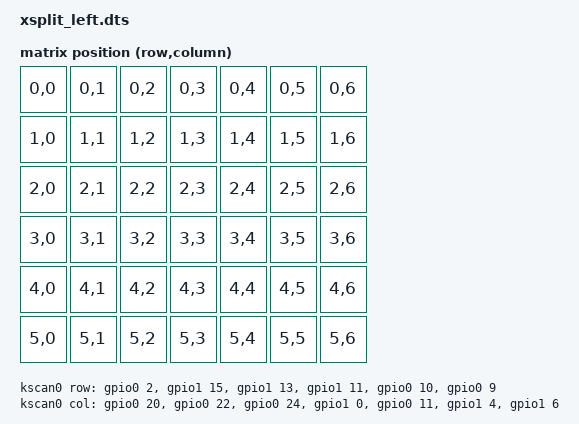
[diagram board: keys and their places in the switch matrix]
/*
*
* Copyright (c) 2021 Darryl deHaan
* SPDX-License-Identifier: MIT
*
*/

#include "xsplit.dtsi"

/ {
    chosen {
        zmk,kscan = &kscan0;
        zmk,keyboard-layout = &xsplit_layout; // Added reference to the new layout node
    };

    kscan0: kscan {
        compatible = "zmk,kscan-gpio-matrix";
        wakeup-source;
        diode-direction = "col2row"; // Set to "row2col" if your PCB uses row-to-column diodes

        // GPIOs MUST be defined here! Do not delete.
        row-gpios = 
            <&gpio0 2  (GPIO_ACTIVE_HIGH | GPIO_PULL_DOWN)>,  /* Row 0 */
            <&gpio1 15 (GPIO_ACTIVE_HIGH | GPIO_PULL_DOWN)>,  /* Row 1 */
            <&gpio1 13 (GPIO_ACTIVE_HIGH | GPIO_PULL_DOWN)>,  /* Row 2 */
            <&gpio1 11 (GPIO_ACTIVE_HIGH | GPIO_PULL_DOWN)>,  /* Row 3 */
            <&gpio0 10 (GPIO_ACTIVE_HIGH | GPIO_PULL_DOWN)>,  /* Row 4 */
            <&gpio0 9  (GPIO_ACTIVE_HIGH | GPIO_PULL_DOWN)>;  /* Row 5 */

        col-gpios = 
            <&gpio0 20 (GPIO_ACTIVE_HIGH | GPIO_PULL_DOWN)>,  /* Col 0 */
            <&gpio0 22 (GPIO_ACTIVE_HIGH | GPIO_PULL_DOWN)>,  /* Col 1 */
            <&gpio0 24 (GPIO_ACTIVE_HIGH | GPIO_PULL_DOWN)>,  /* Col 2 */
            <&gpio1 0  (GPIO_ACTIVE_HIGH | GPIO_PULL_DOWN)>,  /* Col 3 */
            <&gpio0 11 (GPIO_ACTIVE_HIGH | GPIO_PULL_DOWN)>,  /* Col 4 */
            <&gpio1 4  (GPIO_ACTIVE_HIGH | GPIO_PULL_DOWN)>,  /* Col 5 */
            <&gpio1 6  (GPIO_ACTIVE_HIGH | GPIO_PULL_DOWN)>;  /* Col 6 */
    };

    default_transform: keymap_transform_0 {
        compatible = "zmk,matrix-transform";
        columns = <7>;  // Local columns (0-6 for left half)
        rows = <6>;
        map = <
            // Only reference local columns (0-6) here!
            RC(0,0) RC(0,1) RC(0,2) RC(0,3) RC(0,4) RC(0,5) RC(0,6)
            RC(1,0) RC(1,1) RC(1,2) RC(1,3) RC(1,4) RC(1,5) RC(1,6)
            RC(2,0) RC(2,1) RC(2,2) RC(2,3) RC(2,4) RC(2,5) RC(2,6)
            RC(3,0) RC(3,1) RC(3,2) RC(3,3) RC(3,4) RC(3,5) RC(3,6)
            RC(4,0) RC(4,1) RC(4,2) RC(4,3) RC(4,4) RC(4,5) RC(4,6)
            RC(5,0) RC(5,1) RC(5,2) RC(5,3) RC(5,4) RC(5,5) RC(5,6)
        >;
    };
    // ✅ ADD THIS NODE TO FIX THE ERROR
    xsplit_layout: xsplit_layout {
        compatible = "zmk,keyboard-layout";
        label = "XSplit Layout";
        transform = <&default_transform>;
    };
};

&left_encoder {
    status = "okay";
};
